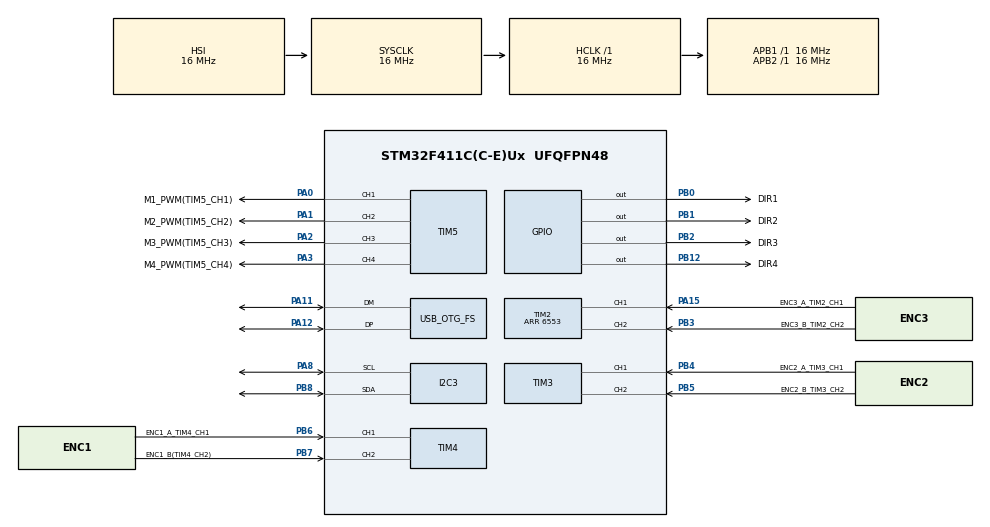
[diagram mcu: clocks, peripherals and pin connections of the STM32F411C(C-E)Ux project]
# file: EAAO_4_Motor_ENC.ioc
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Mcu.Family=STM32F4
Mcu.Name=STM32F411C(C-E)Ux
Mcu.Package=UFQFPN48
NVIC.OTG_FS_IRQn=true\:0\:0\:false\:false\:true\:false\:true\:true
NVIC.PriorityGroup=NVIC_PRIORITYGROUP_4
PA0-WKUP.GPIO_Label=M1_PWM(TIM5_CH1)
PA0-WKUP.Signal=S_TIM5_CH1
PA1.GPIO_Label=M2_PWM(TIM5_CH2)
PA1.Signal=S_TIM5_CH2
PA11.Mode=Device_Only
PA11.Signal=USB_OTG_FS_DM
PA12.Mode=Device_Only
PA12.Signal=USB_OTG_FS_DP
PA13.Mode=Serial_Wire
PA13.Signal=SYS_JTMS-SWDIO
PA14.Mode=Serial_Wire
PA14.Signal=SYS_JTCK-SWCLK
PA15.GPIO_Label=ENC3_A_TIM2_CH1
PA15.Signal=S_TIM2_CH1_ETR
PA2.GPIO_Label=M3_PWM(TIM5_CH3)
PA2.Signal=S_TIM5_CH3
PA3.GPIO_Label=M4_PWM(TIM5_CH4)
PA3.Signal=S_TIM5_CH4
PA8.Mode=I2C
PA8.Signal=I2C3_SCL
PB0.GPIO_Label=DIR1
PB0.Signal=GPIO_Output
PB1.GPIO_Label=DIR2
PB1.Signal=GPIO_Output
PB12.GPIO_Label=DIR4
PB12.Signal=GPIO_Output
PB2.GPIO_Label=DIR3
PB2.Signal=GPIO_Output
PB3.GPIO_Label=ENC3_B_TIM2_CH2
PB3.Signal=S_TIM2_CH2
PB4.GPIO_Label=ENC2_A_TIM3_CH1
PB4.Signal=S_TIM3_CH1
PB5.GPIO_Label=ENC2_B_TIM3_CH2
PB5.Signal=S_TIM3_CH2
PB6.GPIO_Label=ENC1_A_TIM4_CH1
PB6.Signal=S_TIM4_CH1
PB7.GPIO_Label=ENC1_B(TIM4_CH2)
PB7.Signal=S_TIM4_CH2
PB8.Mode=I2C
PB8.Signal=I2C3_SDA
PH0\ -\ OSC_IN.Mode=HSE-External-Oscillator
PH0\ -\ OSC_IN.Signal=RCC_OSC_IN
PH1\ -\ OSC_OUT.Mode=HSE-External-Oscillator
PH1\ -\ OSC_OUT.Signal=RCC_OSC_OUT
ProjectManager.HeapSize=0x200
ProjectManager.StackSize=0x400
ProjectManager.TargetToolchain=STM32CubeIDE
RCC.48MHZClocksFreq_Value=48000000
RCC.AHBFreq_Value=16000000
RCC.APB1Freq_Value=16000000
RCC.APB2Freq_Value=16000000
RCC.CortexFreq_Value=16000000
RCC.HSE_VALUE=25000000
RCC.HSI_VALUE=16000000
RCC.LSE_VALUE=32768
RCC.PLLM=15
RCC.PLLN=144
RCC.PLLQ=5
RCC.SYSCLKFreq_VALUE=16000000
RCC.VCOOutputFreq_Value=240000000
SH.S_TIM2_CH1_ETR.0=TIM2_CH1,Encoder_Interface
SH.S_TIM2_CH2.0=TIM2_CH2,Encoder_Interface
SH.S_TIM3_CH1.0=TIM3_CH1,Encoder_Interface
SH.S_TIM3_CH2.0=TIM3_CH2,Encoder_Interface
SH.S_TIM4_CH1.0=TIM4_CH1,Encoder_Interface
SH.S_TIM4_CH2.0=TIM4_CH2,Encoder_Interface
SH.S_TIM5_CH1.0=TIM5_CH1,PWM Generation1 CH1
SH.S_TIM5_CH2.0=TIM5_CH2,PWM Generation2 CH2
SH.S_TIM5_CH3.0=TIM5_CH3,PWM Generation3 CH3
SH.S_TIM5_CH4.0=TIM5_CH4,PWM Generation4 CH4
TIM2.EncoderMode=TIM_ENCODERMODE_TI12
TIM2.IC1Filter=5
TIM2.IC2Filter=5
TIM2.Period=6553
TIM3.EncoderMode=TIM_ENCODERMODE_TI12
TIM3.IC1Filter=5
TIM3.IC2Filter=5
TIM4.EncoderMode=TIM_ENCODERMODE_TI12
TIM4.IC1Filter=5
TIM4.IC2Filter=5
TIM5.Channel-PWM\ Generation1\ CH1=TIM_CHANNEL_1
TIM5.Channel-PWM\ Generation2\ CH2=TIM_CHANNEL_2
TIM5.Channel-PWM\ Generation3\ CH3=TIM_CHANNEL_3
TIM5.Channel-PWM\ Generation4\ CH4=TIM_CHANNEL_4
USB_DEVICE.CLASS_NAME_FS=CDC
USB_DEVICE.VirtualMode=Cdc
USB_DEVICE.VirtualModeFS=Cdc_FS
USB_OTG_FS.VirtualMode=Device_Only
VP_TIM5_VS_ClockSourceINT.Mode=Internal
VP_USB_DEVICE_VS_USB_DEVICE_CDC_FS.Mode=CDC_FS
board=custom

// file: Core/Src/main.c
/* USER CODE BEGIN Header */
/**
  ******************************************************************************
  * @file           : main.c
  * @brief          : Main program body (Ultra-Clean Version)
  ******************************************************************************
  */
/* USER CODE END Header */
#include "main.h"
#include "usb_device.h"

/* USER CODE BEGIN Includes */
#include "bno085_driver.h"
#include "bno_port.h"
#include "usbd_cdc_if.h"
#include <stdio.h>
#include <string.h>
#include <math.h>
/* USER CODE END Includes */

I2C_HandleTypeDef hi2c3;

TIM_HandleTypeDef htim2;
TIM_HandleTypeDef htim3;
TIM_HandleTypeDef htim4;
TIM_HandleTypeDef htim5;

/* USER CODE BEGIN PV */
BNO085 bno;
BNO_Port bno_port;
/* USER CODE END PV */

void SystemClock_Config(void);
static void MX_GPIO_Init(void);
static void MX_TIM2_Init(void);
static void MX_TIM3_Init(void);
static void MX_TIM4_Init(void);
static void MX_TIM5_Init(void);
static void MX_I2C3_Init(void);

int main(void)
{

  /* MCU Configuration--------------------------------------------------------*/

  /* Reset of all peripherals, Initializes the Flash interface and the Systick. */
  HAL_Init();

  /* Configure the system clock */
  SystemClock_Config();

  /* Initialize all configured peripherals */
  MX_GPIO_Init();
  MX_TIM2_Init();
  MX_TIM3_Init();
  MX_TIM4_Init();
  MX_TIM5_Init();
  MX_USB_DEVICE_Init();
  MX_I2C3_Init();
  /* USER CODE BEGIN 2 */
  HAL_Delay(1000); /* Allow USB CDC and peripherals to initialize */

  /* 1. Initialize BNO Port interface (I2C3) */
  BNO_Port_Init(&bno_port);

  /* 2. Initialize BNO085 sensor driver */
  if (BNO085_Init(&bno, &bno_port) == BNO_PORT_OK)
  {
    /* Enable Game Rotation Vector report at 20ms interval (50 Hz) */
    BNO085_EnableGameRotation(&bno, 20000);
  }
  /* USER CODE END 2 */

  /* Infinite loop */
  /* USER CODE BEGIN WHILE */
  uint32_t last_tx_tick = 0;

  while (1)
  {
    /* 1. Service BNO085: decode pending SHTP reports */
    BNO085_Update(&bno);

    /* 2. Send Game Rotation Vector over USB CDC at periodic interval (every 20ms = 50Hz) */
    if (HAL_GetTick() - last_tx_tick >= 20)
    {
      last_tx_tick = HAL_GetTick();

      BNO_Quaternion q;
      if (BNO085_GetGameRotation(&bno, &q))
      {
        /* Compute Tait-Bryan Euler Angles (Roll, Pitch, Yaw in degrees) */
        float sinr_cosp = 2.0f * (q.w * q.x + q.y * q.z);
        float cosr_cosp = 1.0f - 2.0f * (q.x * q.x + q.y * q.y);
        float roll = atan2f(sinr_cosp, cosr_cosp) * (180.0f / 3.141592653589793f);

        float sinp = 2.0f * (q.w * q.y - q.z * q.x);
        float pitch;
        if (fabsf(sinp) >= 1.0f)
          pitch = copysignf(90.0f, sinp);
        else
          pitch = asinf(sinp) * (180.0f / 3.141592653589793f);

        float siny_cosp = 2.0f * (q.w * q.z + q.x * q.y);
        float cosy_cosp = 1.0f - 2.0f * (q.y * q.y + q.z * q.z);
        float yaw = atan2f(siny_cosp, cosy_cosp) * (180.0f / 3.141592653589793f);

        /* Format USB CDC output packet */
        char msg[128];
        int len = snprintf(msg, sizeof(msg),
          "GRV | Q: [%.4f, %.4f, %.4f, %.4f] | Yaw: %6.2f | Pitch: %6.2f | Roll: %6.2f\r\n",
          q.w, q.x, q.y, q.z, yaw, pitch, roll);

        if (len > 0)
        {
          CDC_Transmit_FS((uint8_t *)msg, (uint16_t)len);
        }
      }
    }
    /* USER CODE END WHILE */

  }

void SystemClock_Config(void)
{
  RCC_OscInitTypeDef RCC_OscInitStruct = {0};
  RCC_ClkInitTypeDef RCC_ClkInitStruct = {0};

  /** Configure the main internal regulator output voltage
  */
  __HAL_RCC_PWR_CLK_ENABLE();
  __HAL_PWR_VOLTAGESCALING_CONFIG(PWR_REGULATOR_VOLTAGE_SCALE1);

  /** Initializes the RCC Oscillators according to the specified parameters
  * in the RCC_OscInitTypeDef structure.
  */
  RCC_OscInitStruct.OscillatorType = RCC_OSCILLATORTYPE_HSI|RCC_OSCILLATORTYPE_HSE;
  RCC_OscInitStruct.HSEState = RCC_HSE_ON;
  RCC_OscInitStruct.HSIState = RCC_HSI_ON;
  RCC_OscInitStruct.HSICalibrationValue = RCC_HSICALIBRATION_DEFAULT;
  RCC_OscInitStruct.PLL.PLLState = RCC_PLL_ON;
  RCC_OscInitStruct.PLL.PLLSource = RCC_PLLSOURCE_HSE;
  RCC_OscInitStruct.PLL.PLLM = 15;
  RCC_OscInitStruct.PLL.PLLN = 144;
  RCC_OscInitStruct.PLL.PLLP = RCC_PLLP_DIV2;
  RCC_OscInitStruct.PLL.PLLQ = 5;
  if (HAL_RCC_OscConfig(&RCC_OscInitStruct) != HAL_OK)
  {
    Error_Handler();
  }

  /** Initializes the CPU, AHB and APB buses clocks
  */
  RCC_ClkInitStruct.ClockType = RCC_CLOCKTYPE_HCLK|RCC_CLOCKTYPE_SYSCLK
                              |RCC_CLOCKTYPE_PCLK1|RCC_CLOCKTYPE_PCLK2;
  RCC_ClkInitStruct.SYSCLKSource = RCC_SYSCLKSOURCE_HSI;
  RCC_ClkInitStruct.AHBCLKDivider = RCC_SYSCLK_DIV1;
  RCC_ClkInitStruct.APB1CLKDivider = RCC_HCLK_DIV1;
  RCC_ClkInitStruct.APB2CLKDivider = RCC_HCLK_DIV1;

  if (HAL_RCC_ClockConfig(&RCC_ClkInitStruct, FLASH_LATENCY_0) != HAL_OK)
  {
    Error_Handler();
  }
}

static void MX_I2C3_Init(void)
{

  hi2c3.Instance = I2C3;
  hi2c3.Init.ClockSpeed = 100000;
  hi2c3.Init.DutyCycle = I2C_DUTYCYCLE_2;
  hi2c3.Init.OwnAddress1 = 0;
  hi2c3.Init.AddressingMode = I2C_ADDRESSINGMODE_7BIT;
  hi2c3.Init.DualAddressMode = I2C_DUALADDRESS_DISABLE;
  hi2c3.Init.OwnAddress2 = 0;
  hi2c3.Init.GeneralCallMode = I2C_GENERALCALL_DISABLE;
  hi2c3.Init.NoStretchMode = I2C_NOSTRETCH_DISABLE;
  if (HAL_I2C_Init(&hi2c3) != HAL_OK)
  {
    Error_Handler();
  }

}

static void MX_TIM2_Init(void)
{

  TIM_Encoder_InitTypeDef sConfig = {0};
  TIM_MasterConfigTypeDef sMasterConfig = {0};

  htim2.Instance = TIM2;
  htim2.Init.Prescaler = 0;
  htim2.Init.CounterMode = TIM_COUNTERMODE_UP;
  htim2.Init.Period = 6553;
  htim2.Init.ClockDivision = TIM_CLOCKDIVISION_DIV1;
  htim2.Init.AutoReloadPreload = TIM_AUTORELOAD_PRELOAD_DISABLE;
  sConfig.EncoderMode = TIM_ENCODERMODE_TI12;
  sConfig.IC1Polarity = TIM_ICPOLARITY_RISING;
  sConfig.IC1Selection = TIM_ICSELECTION_DIRECTTI;
  sConfig.IC1Prescaler = TIM_ICPSC_DIV1;
  sConfig.IC1Filter = 5;
  sConfig.IC2Polarity = TIM_ICPOLARITY_RISING;
  sConfig.IC2Selection = TIM_ICSELECTION_DIRECTTI;
  sConfig.IC2Prescaler = TIM_ICPSC_DIV1;
  sConfig.IC2Filter = 5;
  if (HAL_TIM_Encoder_Init(&htim2, &sConfig) != HAL_OK)
  {
    Error_Handler();
  }
  sMasterConfig.MasterOutputTrigger = TIM_TRGO_RESET;
  sMasterConfig.MasterSlaveMode = TIM_MASTERSLAVEMODE_DISABLE;
  if (HAL_TIMEx_MasterConfigSynchronization(&htim2, &sMasterConfig) != HAL_OK)
  {
    Error_Handler();
  }

}

static void MX_TIM3_Init(void)
{

  TIM_Encoder_InitTypeDef sConfig = {0};
  TIM_MasterConfigTypeDef sMasterConfig = {0};

  htim3.Instance = TIM3;
  htim3.Init.Prescaler = 0;
  htim3.Init.CounterMode = TIM_COUNTERMODE_UP;
  htim3.Init.Period = 65535;
  htim3.Init.ClockDivision = TIM_CLOCKDIVISION_DIV1;
  htim3.Init.AutoReloadPreload = TIM_AUTORELOAD_PRELOAD_DISABLE;
  sConfig.EncoderMode = TIM_ENCODERMODE_TI12;
  sConfig.IC1Polarity = TIM_ICPOLARITY_RISING;
  sConfig.IC1Selection = TIM_ICSELECTION_DIRECTTI;
  sConfig.IC1Prescaler = TIM_ICPSC_DIV1;
  sConfig.IC1Filter = 5;
  sConfig.IC2Polarity = TIM_ICPOLARITY_RISING;
  sConfig.IC2Selection = TIM_ICSELECTION_DIRECTTI;
  sConfig.IC2Prescaler = TIM_ICPSC_DIV1;
  sConfig.IC2Filter = 5;
  if (HAL_TIM_Encoder_Init(&htim3, &sConfig) != HAL_OK)
  {
    Error_Handler();
  }
  sMasterConfig.MasterOutputTrigger = TIM_TRGO_RESET;
  sMasterConfig.MasterSlaveMode = TIM_MASTERSLAVEMODE_DISABLE;
  if (HAL_TIMEx_MasterConfigSynchronization(&htim3, &sMasterConfig) != HAL_OK)
  {
    Error_Handler();
  }

}

static void MX_TIM4_Init(void)
{

  TIM_Encoder_InitTypeDef sConfig = {0};
  TIM_MasterConfigTypeDef sMasterConfig = {0};

  htim4.Instance = TIM4;
  htim4.Init.Prescaler = 0;
  htim4.Init.CounterMode = TIM_COUNTERMODE_UP;
  htim4.Init.Period = 65535;
  htim4.Init.ClockDivision = TIM_CLOCKDIVISION_DIV1;
  htim4.Init.AutoReloadPreload = TIM_AUTORELOAD_PRELOAD_DISABLE;
  sConfig.EncoderMode = TIM_ENCODERMODE_TI12;
  sConfig.IC1Polarity = TIM_ICPOLARITY_RISING;
  sConfig.IC1Selection = TIM_ICSELECTION_DIRECTTI;
  sConfig.IC1Prescaler = TIM_ICPSC_DIV1;
  sConfig.IC1Filter = 5;
  sConfig.IC2Polarity = TIM_ICPOLARITY_RISING;
  sConfig.IC2Selection = TIM_ICSELECTION_DIRECTTI;
  sConfig.IC2Prescaler = TIM_ICPSC_DIV1;
  sConfig.IC2Filter = 5;
  if (HAL_TIM_Encoder_Init(&htim4, &sConfig) != HAL_OK)
  {
    Error_Handler();
  }
  sMasterConfig.MasterOutputTrigger = TIM_TRGO_RESET;
  sMasterConfig.MasterSlaveMode = TIM_MASTERSLAVEMODE_DISABLE;
  if (HAL_TIMEx_MasterConfigSynchronization(&htim4, &sMasterConfig) != HAL_OK)
  {
    Error_Handler();
  }

}

static void MX_TIM5_Init(void)
{

  TIM_ClockConfigTypeDef sClockSourceConfig = {0};
  TIM_MasterConfigTypeDef sMasterConfig = {0};
  TIM_OC_InitTypeDef sConfigOC = {0};

  htim5.Instance = TIM5;
  htim5.Init.Prescaler = 0;
  htim5.Init.CounterMode = TIM_COUNTERMODE_UP;
  htim5.Init.Period = 4294967295;
  htim5.Init.ClockDivision = TIM_CLOCKDIVISION_DIV1;
  htim5.Init.AutoReloadPreload = TIM_AUTORELOAD_PRELOAD_DISABLE;
  if (HAL_TIM_Base_Init(&htim5) != HAL_OK)
  {
    Error_Handler();
  }
  sClockSourceConfig.ClockSource = TIM_CLOCKSOURCE_INTERNAL;
  if (HAL_TIM_ConfigClockSource(&htim5, &sClockSourceConfig) != HAL_OK)
  {
    Error_Handler();
  }
  if (HAL_TIM_PWM_Init(&htim5) != HAL_OK)
  {
    Error_Handler();
  }
  sMasterConfig.MasterOutputTrigger = TIM_TRGO_RESET;
  sMasterConfig.MasterSlaveMode = TIM_MASTERSLAVEMODE_DISABLE;
  if (HAL_TIMEx_MasterConfigSynchronization(&htim5, &sMasterConfig) != HAL_OK)
  {
    Error_Handler();
  }
  sConfigOC.OCMode = TIM_OCMODE_PWM1;
  sConfigOC.Pulse = 0;
  sConfigOC.OCPolarity = TIM_OCPOLARITY_HIGH;
  sConfigOC.OCFastMode = TIM_OCFAST_DISABLE;
  if (HAL_TIM_PWM_ConfigChannel(&htim5, &sConfigOC, TIM_CHANNEL_1) != HAL_OK)
  {
    Error_Handler();
  }
  if (HAL_TIM_PWM_ConfigChannel(&htim5, &sConfigOC, TIM_CHANNEL_2) != HAL_OK)
  {
    Error_Handler();
  }
  if (HAL_TIM_PWM_ConfigChannel(&htim5, &sConfigOC, TIM_CHANNEL_3) != HAL_OK)
  {
    Error_Handler();
  }
  if (HAL_TIM_PWM_ConfigChannel(&htim5, &sConfigOC, TIM_CHANNEL_4) != HAL_OK)
  {
    Error_Handler();
  }
  HAL_TIM_MspPostInit(&htim5);

}

static void MX_GPIO_Init(void)
{
  GPIO_InitTypeDef GPIO_InitStruct = {0};

  /* GPIO Ports Clock Enable */
  __HAL_RCC_GPIOH_CLK_ENABLE();
  __HAL_RCC_GPIOA_CLK_ENABLE();
  __HAL_RCC_GPIOB_CLK_ENABLE();

  /*Configure GPIO pin Output Level */
  HAL_GPIO_WritePin(GPIOB, DIR1_Pin|DIR2_Pin|DIR3_Pin|DIR4_Pin, GPIO_PIN_RESET);

  /*Configure GPIO pins : DIR1_Pin DIR2_Pin DIR3_Pin DIR4_Pin */
  GPIO_InitStruct.Pin = DIR1_Pin|DIR2_Pin|DIR3_Pin|DIR4_Pin;
  GPIO_InitStruct.Mode = GPIO_MODE_OUTPUT_PP;
  GPIO_InitStruct.Pull = GPIO_NOPULL;
  GPIO_InitStruct.Speed = GPIO_SPEED_FREQ_LOW;
  HAL_GPIO_Init(GPIOB, &GPIO_InitStruct);

}

void Error_Handler(void)
{
  __disable_irq();
  while (1)
  {
  }
}
